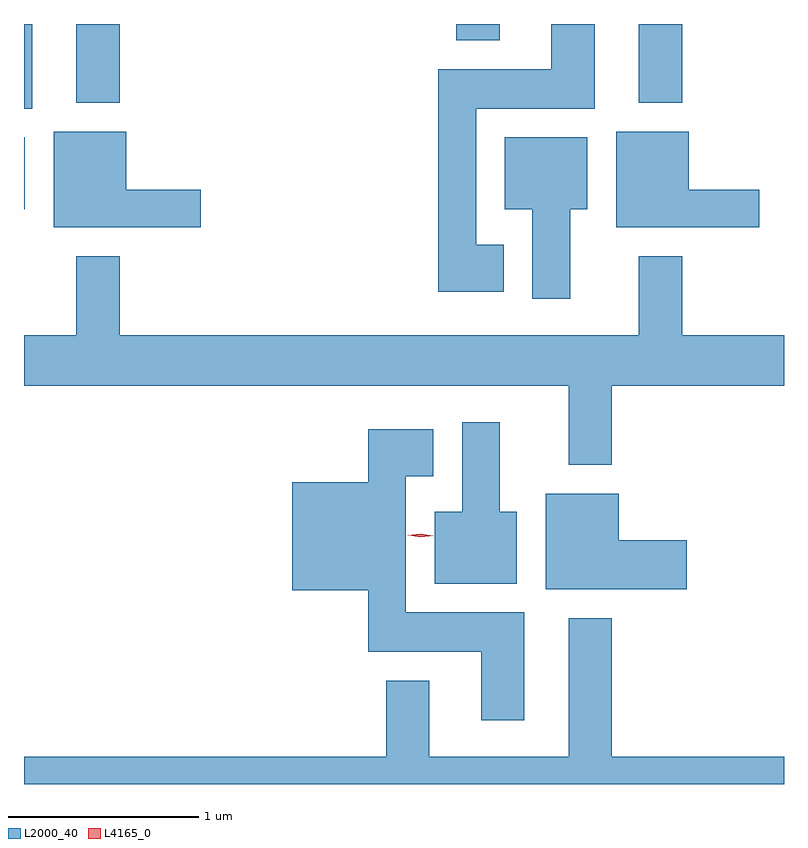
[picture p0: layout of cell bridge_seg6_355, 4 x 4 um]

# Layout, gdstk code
import gdstk
lib = gdstk.Library(unit=1e-6, precision=1e-09)
def R(c, l, rs):  # rectangles x0, y0, x1, y1
    for r in rs: c.add(gdstk.rectangle(r[:2], r[2:], *l))
def P(c, l, *ps):  # polygons
    for p in ps: c.add(gdstk.Polygon(p, *l))
L2000_40 = (2000, 40)
L4165_0 = (4165, 0)

bridge_seg6_355 = lib.new_cell('bridge_seg6_355')
R(bridge_seg6_355, L2000_40, [(1337.175,1553.186,1337.179,1553.564), (1337.175,1553.716,1337.219,1554.161), (1337.451,1553.746,1337.679,1554.161), (1340.411,1553.746,1340.639,1554.161), (1339.451,1554.076,1339.679,1554.161)])
P(bridge_seg6_355, L2000_40, [(1339.699,1552.999),(1339.554,1552.999),(1339.554,1553.716),(1340.179,1553.716),(1340.179,1554.161),(1339.951,1554.161),(1339.951,1553.924),(1339.356,1553.924),(1339.356,1552.751),(1339.699,1552.751)],
  [(1338.104,1553.289),(1337.714,1553.289),(1337.714,1553.594),(1337.331,1553.594),(1337.331,1553.091),(1338.104,1553.091)],
  [(1341.044,1553.289),(1340.674,1553.289),(1340.674,1553.594),(1340.291,1553.594),(1340.291,1553.091),(1341.044,1553.091)],
  [(1340.049,1553.186),(1340.139,1553.186),(1340.139,1553.564),(1339.706,1553.564),(1339.706,1553.186),(1339.851,1553.186),(1339.851,1552.716),(1340.049,1552.716)],
  [(1337.451,1552.939),(1337.451,1552.524),(1337.175,1552.524),(1337.175,1552.256),(1340.041,1552.256),(1340.041,1551.841),(1340.269,1551.841),(1340.269,1552.256),(1341.175,1552.256),(1341.175,1552.524),(1340.639,1552.524),(1340.639,1552.939),(1340.411,1552.939),(1340.411,1552.524),(1337.679,1552.524),(1337.679,1552.939)],
  [(1339.769,1551.594),(1339.679,1551.594),(1339.679,1552.064),(1339.481,1552.064),(1339.481,1551.594),(1339.336,1551.594),(1339.336,1551.216),(1339.769,1551.216)],
  [(1339.809,1551.064),(1339.184,1551.064),(1339.184,1551.781),(1339.329,1551.781),(1339.329,1552.029),(1338.986,1552.029),(1338.986,1551.749),(1338.586,1551.749),(1338.586,1551.181),(1338.986,1551.181),(1338.986,1550.856),(1339.581,1550.856),(1339.581,1550.496),(1339.809,1550.496)],
  [(1340.664,1551.444),(1340.304,1551.444),(1340.304,1551.689),(1339.921,1551.689),(1339.921,1551.186),(1340.664,1551.186)],
  [(1341.175,1550.304),(1340.269,1550.304),(1340.269,1551.034),(1340.041,1551.034),(1340.041,1550.304),(1339.309,1550.304),(1339.309,1550.704),(1339.081,1550.704),(1339.081,1550.304),(1337.175,1550.304),(1337.175,1550.161),(1341.175,1550.161)])
P(bridge_seg6_355, L4165_0, [(1339.262,1551.459),(1339.196,1551.47),(1339.196,1551.47),(1339.196,1551.471),(1339.262,1551.479),(1339.328,1551.468),(1339.328,1551.468),(1339.328,1551.467)])

lib.write_gds('bridge_seg6_355.gds')
